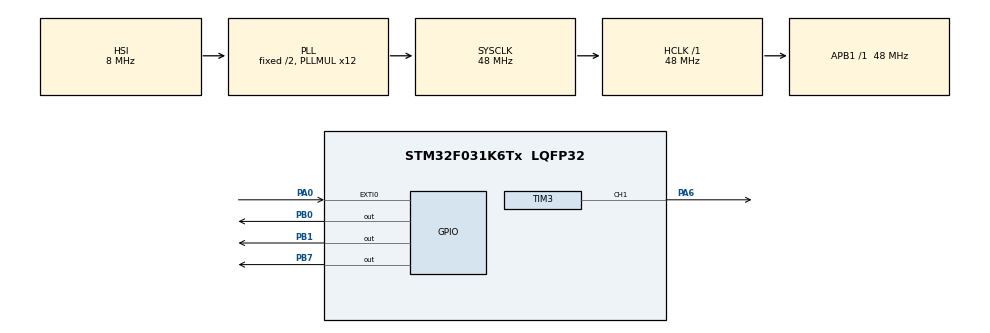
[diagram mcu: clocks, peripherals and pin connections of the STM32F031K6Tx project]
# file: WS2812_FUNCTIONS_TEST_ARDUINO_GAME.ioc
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Dma.Request0=TIM3_CH1/TRIG
Dma.TIM3_CH1/TRIG.0.Direction=DMA_MEMORY_TO_PERIPH
Dma.TIM3_CH1/TRIG.0.Instance=DMA1_Channel4
Dma.TIM3_CH1/TRIG.0.MemDataAlignment=DMA_MDATAALIGN_BYTE
Dma.TIM3_CH1/TRIG.0.MemInc=DMA_MINC_ENABLE
Dma.TIM3_CH1/TRIG.0.Mode=DMA_NORMAL
Dma.TIM3_CH1/TRIG.0.PeriphDataAlignment=DMA_PDATAALIGN_HALFWORD
Dma.TIM3_CH1/TRIG.0.PeriphInc=DMA_PINC_DISABLE
Dma.TIM3_CH1/TRIG.0.Priority=DMA_PRIORITY_LOW
Mcu.Family=STM32F0
Mcu.Name=STM32F031K6Tx
Mcu.Package=LQFP32
NVIC.DMA1_Channel4_5_IRQn=true\:0\:0\:false\:false\:true\:false\:true\:true
NVIC.EXTI0_1_IRQn=true\:0\:0\:false\:false\:true\:true\:true\:true
PA0.GPIO_ModeDefaultEXTI=GPIO_MODE_IT_RISING
PA0.GPIO_PuPd=GPIO_PULLDOWN
PA0.Signal=GPXTI0
PA13.Mode=Serial_Wire
PA13.Signal=SYS_SWDIO
PA14.Mode=Serial_Wire
PA14.Signal=SYS_SWCLK
PA6.Signal=S_TIM3_CH1
PB0.Signal=GPIO_Output
PB1.Signal=GPIO_Output
PB7.Signal=GPIO_Output
PF0-OSC_IN.Mode=HSE-External-Oscillator
PF0-OSC_IN.Signal=RCC_OSC_IN
PF1-OSC_OUT.Mode=HSE-External-Oscillator
PF1-OSC_OUT.Signal=RCC_OSC_OUT
ProjectManager.HeapSize=0x200
ProjectManager.StackSize=0x400
ProjectManager.TargetToolchain=STM32CubeIDE
RCC.AHBFreq_Value=48000000
RCC.APB1Freq_Value=48000000
RCC.APB1TimFreq_Value=48000000
RCC.HCLKFreq_Value=48000000
RCC.PLLMUL=RCC_PLL_MUL12
RCC.SYSCLKFreq_VALUE=48000000
RCC.SYSCLKSource=RCC_SYSCLKSOURCE_PLLCLK
SH.S_TIM3_CH1.0=TIM3_CH1,PWM Generation1 CH1
TIM3.Channel-PWM\ Generation1\ CH1=TIM_CHANNEL_1
TIM3.Period=3-1
TIM3.Prescaler=20-1
VP_TIM3_VS_ClockSourceINT.Mode=Internal
board=custom

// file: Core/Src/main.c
/* USER CODE BEGIN Header */
/**
 ******************************************************************************
 * @file           : main.c
 * @brief          : Main program body
 ******************************************************************************
 * @attention
 *
 * Copyright (c) 2025 STMicroelectronics.
 * All rights reserved.
 *
 * This software is licensed under terms that can be found in the LICENSE file
 * in the root directory of this software component.
 * If no LICENSE file comes with this software, it is provided AS-IS.
 *
 ******************************************************************************
 */
/* USER CODE END Header */
#include "main.h"

/* USER CODE BEGIN Includes */
#include <stdlib.h> // abs() fonksiyonu için
#include <stdbool.h> // bool veri tipi için
#include <stdint.h>  // uint8_t, uint16_t gibi tipler için
/* USER CODE END Includes */

TIM_HandleTypeDef htim3;
DMA_HandleTypeDef hdma_tim3_ch1_trig;

void SystemClock_Config(void);
static void MX_GPIO_Init(void);
static void MX_DMA_Init(void);
static void MX_TIM3_Init(void);

/* USER CODE BEGIN 0 */

#define noOfLEDs 59
uint8_t pwmData[24 * noOfLEDs + 50]; // Bu dizi main.c'de tanımlı olmalı

// -----------------------------------------------------------
// WS2812 TEST FONSKIYONLARI
// -----------------------------------------------------------
void HAL_TIM_PWM_PulseFinishedCallback(TIM_HandleTypeDef *htim) {
	HAL_TIM_PWM_Stop_DMA(&htim3, TIM_CHANNEL_1);
	htim3.Instance->CCR1 = 0;
}

// tum ledleri off yapma fonksiyonu ?????
void resetAllLED(void) {
	for (int i = 0; i < 24 * noOfLEDs; i++)
		pwmData[i] = 1;
}

// tum ledleri beyaz renkte yakiyor sanirim ????
void setAllLED(void) {
	// set icin tum ledlerin datasini 2 yapıyoz ?????
	for (int i = 0; i < 24 * noOfLEDs; i++)
		pwmData[i] = 2;
}

// led'in rengini ayarlamak icin fonksiyon
void setLED(int LEDposition, int Red, int Green, int Blue) {
	for (int i = 7; i >= 0; i--) // Set the first 8 out of 24 to green
			{
		pwmData[24 * LEDposition + 7 - i] = ((Green >> i) & 1) + 1;
	}
	for (int i = 7; i >= 0; i--) // Set the second 8 out of 24 to red
			{
		pwmData[24 * LEDposition + 15 - i] = ((Red >> i) & 1) + 1;
	}
	for (int i = 7; i >= 0; i--) // Set the third 8 out of 24 to blue
			{
		pwmData[24 * LEDposition + 23 - i] = ((Blue >> i) & 1) + 1;
	}
}

// DMA baslatan fonksiyon
void ws2812Send(void) {
	HAL_TIM_PWM_Start_DMA(&htim3, TIM_CHANNEL_1, (uint32_t*) pwmData,
			24 * noOfLEDs + 50);
}
// -----------------------------------------------------------
// WS2812 TEST FONKSIYONLARI SON
// -----------------------------------------------------------

// -----------------------------------------------------------
// GEMINI OYUN KODU
// -----------------------------------------------------------
// Arduino kodundan gelen tanımlar

volatile bool Playing = true;      // volatile olarak işaretlendi
volatile bool CycleEnded = true;   // volatile olarak işaretlendi
uint32_t last_button_interrupt_time = 0; // Debounce için
#define DEBOUNCE_TIME_MS 100         // 50ms debounce süresi (ayarlayabilirsiniz)

#define NUM_LEDS noOfLEDs // Arduino NUM_LEDS yerine noOfLEDs kullanalım
#define CENTER_LED 29
#define BRIGHTNESS 100 // Parlaklık (0-255 ölçeğinde düşünülerek uygulanacak)

// CANLAR İÇİN LEDLER
#define LIFE_LED_1_PORT GPIOB
#define LIFE_LED_1_PIN  GPIO_PIN_0 // 1. can için (ya da hangi sırayla isterseniz)

#define LIFE_LED_2_PORT GPIOB
#define LIFE_LED_2_PIN  GPIO_PIN_1 // 2. can için

#define LIFE_LED_3_PORT GPIOB
#define LIFE_LED_3_PIN  GPIO_PIN_7 // 3. can için (ya da tam tersi)

// Zorluk seviyeleri
#define EASY 1
#define MEDIUM 2
#define HARD 3
#define ON_SPEED 4
#define SONIC_SPEED 5
#define ROCKET_SPEED 6
#define LIGHT_SPEED 7
#define MISSION_IMPOSSIBLE 8

// Global oyun değişkenleri
int difficulty = EASY; // Başlangıç zorluğu EASY
bool wonThisRound = false;
int LEDaddress = 0;

int player_lives = 3; // Oyuncunun can sayısı

#define BUTTON_GPIO_Port GPIOA
#define BUTTON_Pin GPIO_PIN_0
#define BUTTON_PRESSED_STATE GPIO_PIN_SET

uint32_t last_led_advance_time = 0;
// uint32_t button_press_time = 0; // Eğer kullanmıyorsanız bu satırı silebilirsiniz.
bool button_currently_pressed_flag = false;

static uint32_t button_seen_released_at_tick = 0; // Butonun BIRAKILDIĞI ilk görüldüğü zaman
static bool waiting_for_stable_release = false; // Kararlı bir bırakılma bekleniyor mu?
#define STABLE_RELEASE_DURATION_MS 100             // Butonun kararlı şekilde bırakılmış sayılması için gereken süre (ms)

// LED renklerini tutmak için bir yapı ve dizi
typedef struct {
	uint8_t r;
	uint8_t g;
	uint8_t b;
} RGBColor;

RGBColor led_strip[NUM_LEDS]; // LED'lerin renklerini saklayan gölge dizi
uint8_t global_brightness = BRIGHTNESS; // Global parlaklık

// HSV'den RGB'ye renk dönüşüm fonksiyonu
void hsvToRgb(uint8_t h, uint8_t s, uint8_t v, RGBColor *rgb) {
	uint8_t region, remainder, p, q, t;

	if (s == 0) {
		rgb->r = v;
		rgb->g = v;
		rgb->b = v;
		return;
	}

	region = h / 43; // 256 / 6 ~= 42.66, so h is 0-255 for 6 regions
	remainder = (h - (region * 43)) * 6;

	p = (v * (255 - s)) >> 8;
	q = (v * (255 - ((s * remainder) >> 8))) >> 8;
	t = (v * (255 - ((s * (255 - remainder)) >> 8))) >> 8;

	switch (region) {
	case 0:
		rgb->r = v;
		rgb->g = t;
		rgb->b = p;
		break;
	case 1:
		rgb->r = q;
		rgb->g = v;
		rgb->b = p;
		break;
	case 2:
		rgb->r = p;
		rgb->g = v;
		rgb->b = t;
		break;
	case 3:
		rgb->r = p;
		rgb->g = q;
		rgb->b = v;
		break;
	case 4:
		rgb->r = t;
		rgb->g = p;
		rgb->b = v;
		break;
	default:
		rgb->r = v;
		rgb->g = p;
		rgb->b = q;
		break; // case 5
	}
}

// Gölge LED dizisindeki bir LED'in rengini ayarlar
void set_led_color_in_strip(int index, uint8_t r, uint8_t g, uint8_t b) {
	if (index >= 0 && index < NUM_LEDS) {
		led_strip[index].r = r;
		led_strip[index].g = g;
		led_strip[index].b = b;
	}
}

// Tüm gölge LED dizisini belirli bir renkle doldurur
void fill_strip_solid(uint8_t r, uint8_t g, uint8_t b) {
	for (int i = 0; i < NUM_LEDS; i++) {
		set_led_color_in_strip(i, r, g, b);
	}
}

// Gölge LED dizisindeki renkleri parlaklık ayarıyla fiziksel LED'lere gönderir
void update_led_strip_to_physical_leds(void) {
	for (int i = 0; i < NUM_LEDS; i++) {
		uint8_t r_adj = ((uint16_t) led_strip[i].r * global_brightness) / 255;
		uint8_t g_adj = ((uint16_t) led_strip[i].g * global_brightness) / 255;
		uint8_t b_adj = ((uint16_t) led_strip[i].b * global_brightness) / 255;

		// Kullanıcının setLED fonksiyonu (Pozisyon, Kırmızı, Yeşil, Mavi) parametrelerini alır.
		// WS2811 için renk sırası genellikle GRB'dir, bu yüzden setLED fonksiyonunun
		// bu sırayı doğru şekilde pwmData'ya yazdığını varsayıyoruz.
		// Arduino kodunda COLOR_ORDER RGB idi. FastLED bunu hallediyordu.
		// Sizin setLED fonksiyonunuzdaki döngüler: Yeşil, sonra Kırmızı, sonra Mavi bitlerini yazıyor.
		// Bu, setLED(pos, R, G, B) çağrıldığında, G'nin ilk, R'nin ikinci, B'nin üçüncü renk olarak
		// LED'e gönderileceği anlamına gelir. Bu WS2811 için standart bir GRB sıralamasıdır.
		// Eğer FastLED RGB sırasında gönderiyorsa ve WS2811'iniz RGB ise, setLED'e R,G,B vermek doğrudur.
		// Eğer WS2811'iniz GRB ise ve FastLED RGB gönderiyorsa, FastLED kendi içinde çeviriyordu.
		// Sizin setLED fonksiyonunuzun argümanları (Red, Green, Blue) ise ve WS2811'iniz GRB ise,
		// setLED(pos, Kirmizi, Yesil, Mavi) -> pwmData'ya Yesil, Kirmizi, Mavi bitlerini yazar.
		// Bu durumda bizim RGBColor {r,g,b} yapımızdaki değerleri doğrudan kullanabiliriz.
		setLED(i, r_adj, g_adj, b_adj);
	}
	ws2812Send();
}

// Oyun başlangıç ayarları
void game_setup(void) {
	// STM32 HAL başlatmaları (GPIO, TIM, DMA) main() içinde yapılmış olmalı.
	// Oyun mantığı için başlangıç ayarları:
	fill_strip_solid(0, 0, 0); // Tüm LED'leri siyah yap
	update_led_strip_to_physical_leds(); // Siyah rengi LED'lere gönder
	// Gerekirse STM32 UART başlatma kodları eklenebilir (Serial.begin eşdeğeri)
}

// Ana oyun döngüsü
void game_loop(void) {
	if (!Playing) { // Oyun durmuşsa (ISR tarafından Playing=false yapıldı)
		if (CycleEnded) { // ISR, CycleEnded=true yaptı, yani sonucu değerlendirmemiz gerekiyor
			// Hedef LED ve seçilen LED dışındaki tüm LED'leri kapat
			for (int i = 0; i < NUM_LEDS; i++) {
				set_led_color_in_strip(i, 0, 0, 0); // Siyah
			}
			set_led_color_in_strip(CENTER_LED, 255, 0, 0); // Merkez LED Kırmızı
			set_led_color_in_strip(LEDaddress, 0, 255, 0); // Durdurulan LED Yeşil
			update_led_strip_to_physical_leds();

			int diff = abs(CENTER_LED - LEDaddress);
			if (diff == 0) { // KAZANDI
				wonThisRound = true;
				if (difficulty == MISSION_IMPOSSIBLE) {
					// Mission Impossible kazanıldı!
					play_won_animation(); // Yeni yeşil yanıp sönme animasyonu
					// Ardından normal Cylon animasyonu (örneğin 2 kez)
					for (int i = 0; i < 2; i++) {
						play_cylon_animation();
					}
					difficulty = EASY; // Oyun başa döner (EASY seviyesine)
					player_lives = 3;
					update_life_leds();
				} else {
					// Diğer seviyeler kazanıldı
					for (int i = 0; i < 2; i++) { // Normal Cylon animasyonu
						play_cylon_animation();
					}
				}
				increase_game_difficulty(); // Zorluk artırılır (veya MI sonrası sıfırlanır)
				wonThisRound = false;
			} else { // KAYBETTİ
				player_lives--;
				update_life_leds();
				if (player_lives > 0) {
					HAL_Delay(1000);
					// Normal kaybetme animasyonu (kısa flash)
					for (int i = 0; i < 2; i++) {
						play_flash_animation();
					}
					// Mevcut seviyeden devam eder, zorluk değişmez.
					// `difficulty` değişkenine dokunmuyoruz.
				} else {
					// canı kalmadi restart_game
					HAL_Delay(1000);
					// game over animasyonu daha uzun flash
					for (int i = 0; i < 4; i++) {
						play_flash_animation();
					}
					// Game over sonrası ayarlar
					player_lives = 3;    // Canları yenile
					update_life_leds();
					difficulty = EASY;   // En baştaki bölüme (EASY) dön
				}

			}
			CycleEnded = false; // Bu kazanma/kaybetme durumu işlendi
			waiting_for_stable_release = false; // Yeniden başlatma için kararlı bırakma bayrağını sıfırla
		}

		// CycleEnded false ise (animasyonlar bitti), butonun bırakılmasını bekle ve oyunu yeniden başlat
		GPIO_PinState current_button_state = HAL_GPIO_ReadPin(BUTTON_GPIO_Port,
		BUTTON_Pin);

		if (current_button_state == GPIO_PIN_RESET) { // Buton şu an BIRAKILMIŞ (LOW) görünüyor
			if (!waiting_for_stable_release) {
				// Butonu BIRAKILMIŞ olarak ilk kez görüyoruz (veya bir sıçrama sonrası tekrar BIRAKILMIŞ oldu)
				waiting_for_stable_release = true;
				button_seen_released_at_tick = HAL_GetTick(); // Zamanı kaydet
			} else {
				// Zaten BIRAKILMIŞ olarak görmüştük, şimdi yeterince uzun süre öyle kalıp kalmadığını kontrol et
				if (HAL_GetTick()
						- button_seen_released_at_tick> STABLE_RELEASE_DURATION_MS) {
					// Evet, buton STABLE_RELEASE_DURATION_MS süresince bırakılmış durumda kaldı. Oyunu yeniden başlat.
					Playing = true;       // Oyunu yeniden başlat
					LEDaddress = 0;       // LED adresini sıfırla
					HAL_Delay(10);        // Kısa bir bekleme

					fill_strip_solid(0, 0, 0);
					set_led_color_in_strip(CENTER_LED, 255, 0, 0); // Merkezi kırmızı yap
					// set_led_color_in_strip(0, 0, 255, 0); // İlk LED'i yeşil yapmaya gerek yok, Playing=true döngüsü halledecek
					update_led_strip_to_physical_leds();
					HAL_Delay(10);

					waiting_for_stable_release = false; // Bir sonraki döngü için bayrağı sıfırla
				}
			}
		} else { // Buton şu an BASILI (HIGH) görünüyor (ya hala basılı tutuluyor ya da sıçradı)
			// Eğer kararlı bir bırakılma bekliyorduk ama buton tekrar HIGH olduysa, bekleme durumunu sıfırla.
			if (waiting_for_stable_release) {
				waiting_for_stable_release = false;
			}
		}
	} // if (!Playing) sonu

	if (Playing) { // Oyun oynanış mantığı (bu kısım değişmiyor)
		for (int i = 0; i < NUM_LEDS; i++) {
			set_led_color_in_strip(i, 0, 0, 0);
		}
		set_led_color_in_strip(CENTER_LED, 255, 0, 0);
		set_led_color_in_strip(LEDaddress, 0, 255, 0);
		update_led_strip_to_physical_leds();

		LEDaddress++;
		if (LEDaddress == NUM_LEDS) {
			LEDaddress = 0;
		}
		HAL_Delay(getTime(difficulty));
	}
} // game_loop sonu
// Zorluğa göre LED hareket gecikmesini döndürür
int getTime(int diff_level) {
	int timeValue = 0;
	switch (diff_level) {
	case EASY:
		timeValue = 200;
		break;
	case MEDIUM:
		timeValue = 150;
		break;
	case HARD:
		timeValue = 100;
		break;
	case ON_SPEED:
		timeValue = 80;
		break;
	case SONIC_SPEED:
		timeValue = 60;
		break;
	case ROCKET_SPEED:
		timeValue = 50;
		break;
	case LIGHT_SPEED:
		timeValue = 30;
		break;
	case MISSION_IMPOSSIBLE:
		timeValue = 20;
		break;
	default:
		timeValue = 100; // Hata durumunda varsayılan
	}
	return timeValue;
}

// Kazanma durumunda zorluğu artırır
void increase_game_difficulty() {
	// Orijinal Arduino kodu: void increaseDifficulty() { if (difficulty != MISSION_IMPOSSIBLE && wonThisRound) { difficulty++; } }
	// Ve MISSION_IMPOSSIBLE kazanıldığında ana döngüde difficulty = 0; yapılıp sonra bu fonksiyon çağrılıyordu.
	// Bu mantık korunuyor:
	if (wonThisRound) { // Sadece kazanıldıysa zorluk değişir
		if (difficulty == 0) { // Bu, MISSION_IMPOSSIBLE'dan sonraki sıfırlamadır
			difficulty = 1; // EASY'ye geç
		} else if (difficulty < MISSION_IMPOSSIBLE) {
			difficulty++;
		}
		// Eğer difficulty zaten MISSION_IMPOSSIBLE ise ve kazanıldıysa,
		// game_loop içinde difficulty = 0 olarak ayarlandı. wonThisRound true olduğu için
		// bir sonraki adımda difficulty = 1 olacak.
	}
}

// Kaybetme durumunda LED animasyonu (iki kez kırmızı flaş)
void play_flash_animation() {
	uint16_t flash_duration = 300; // Kırmızı ışığın yanık kalma süresi (ms)
	uint16_t off_duration = 300;   // LED'lerin sönük kalma süresi (ms)

	// Birinci flaş
	fill_strip_solid(255, 0, 0); // Tüm LED'ler Kırmızı
	update_led_strip_to_physical_leds();
	HAL_Delay(flash_duration);

	fill_strip_solid(0, 0, 0);   // Tüm LED'ler Siyah (Sönük)
	update_led_strip_to_physical_leds();
	HAL_Delay(off_duration);

//    // İkinci flaş
//    fill_strip_solid(255, 0, 0); // Tüm LED'ler Kırmızı
//    update_led_strip_to_physical_leds();
//    HAL_Delay(flash_duration);

	fill_strip_solid(0, 0, 0);   // Tüm LED'ler Siyah (Sönük)
	update_led_strip_to_physical_leds();
	// Animasyon bittikten sonra LED'lerin sönük kalması için çok kısa bir bekleme,
	// bir sonraki LED güncellemesine kadar durumun korunmasına yardımcı olabilir.
	HAL_Delay(50);
}

// Tüm LED'lerin parlaklığını azaltır (FastLED'deki fadeall gibi)
void apply_fade_to_all_leds() {
	// Daha nazik bir soluklaştırma deneyin, kuyruk biraz daha uzun kalır.
	uint8_t fade_amount = 245; // 220 yerine 240, 245 gibi değerler deneyin
	for (int i = 0; i < NUM_LEDS; i++) {
		led_strip[i].r = (uint32_t) led_strip[i].r * fade_amount / 256;
		led_strip[i].g = (uint32_t) led_strip[i].g * fade_amount / 256;
		led_strip[i].b = (uint32_t) led_strip[i].b * fade_amount / 256;
	}
}

// Helper function to generate a color from a 0-255 position on a color wheel
// Pozisyon 0-255 arası bir değer alır ve bir gökkuşağı rengi döndürür.
void rgb_color_wheel(uint8_t wheel_pos, RGBColor *color) {
	wheel_pos = 255 - wheel_pos; // Renk döngüsünün yönünü değiştirebilirsiniz (isteğe bağlı)
	if (wheel_pos < 85) {
		color->r = 255 - wheel_pos * 3;
		color->g = 0;
		color->b = wheel_pos * 3;
	} else if (wheel_pos < 170) {
		wheel_pos -= 85;
		color->r = 0;
		color->g = wheel_pos * 3;
		color->b = 255 - wheel_pos * 3;
	} else {
		wheel_pos -= 170;
		color->r = wheel_pos * 3;
		color->g = 255 - wheel_pos * 3;
		color->b = 0;
	}
	// Not: Bu fonksiyonun ürettiği renkler tam parlaklıktadır (bir bileşen 255'e ulaşır).
	// Global parlaklık (global_brightness) daha sonra update_led_strip_to_physical_leds içinde uygulanacaktır.
	// Eğer bu animasyonun kendi parlaklığını ayrıca kısmak isterseniz,
	// burada üretilen r,g,b değerlerini bir miktar ölçekleyebilirsiniz.
	// Örn: color->r = color->r * anim_brightness_scale / 255; (anim_brightness_scale < 255)
}
// Kazanma durumunda Cylon LED animasyonu
// Kazanma durumunda Cylon LED animasyonu (RGB Renk Tekerleği ile)
void play_cylon_animation() {
	static uint8_t wheel_position = 0; // Renk tekerleğindeki mevcut pozisyon, çağrılar arasında devam eder.

	// Animasyon adımları arasındaki gecikme (ms).
	// Arduino'daki delay(10)'a karşılık gelir. Gerekirse artırılabilir.
	uint16_t step_delay = 10;

	// İleri yönde
	for (int i = 0; i < NUM_LEDS; i++) {
		RGBColor current_color;
		// Her LED için renk tekerleğinden bir sonraki rengi al
		// wheel_position uint8_t olduğu için 255'ten sonra otomatik olarak 0'a döner.
		rgb_color_wheel(wheel_position++, &current_color);

		set_led_color_in_strip(i, current_color.r, current_color.g,
				current_color.b);
		update_led_strip_to_physical_leds();
		// BUNU YAPINCA LEDLERIN RENKLERI BOZULUYO
//        apply_fade_to_all_leds(); // Kuyruk efekti için (fade_amount'ı deneyerek ayarlayın)
		HAL_Delay(step_delay);
	}

	// Geri yönde
	for (int i = (NUM_LEDS) - 1; i >= 0; i--) {
		RGBColor current_color;
		rgb_color_wheel(wheel_position++, &current_color);

		set_led_color_in_strip(i, current_color.r, current_color.g,
				current_color.b);
		update_led_strip_to_physical_leds();
//        apply_fade_to_all_leds();
		HAL_Delay(step_delay);
	}
}

void play_won_animation() {

	fill_strip_solid(0, 0, 0);   // Tüm LED'ler Siyah (Sönük)
	update_led_strip_to_physical_leds();
	HAL_Delay(50);

	uint16_t blink_delay = 600; // Yanıp sönme hızı (ms)
	uint8_t green_r = 0;
	uint8_t green_g = 255;
	uint8_t green_b = 0;

	for (int i = 0; i < 2; i++) { // 3 kere yanıp sönsün
		// Tüm LED'leri Yeşil yap
		fill_strip_solid(green_r, green_g, green_b);
		update_led_strip_to_physical_leds();
		HAL_Delay(blink_delay);

		// Tüm LED'leri Söndür
		fill_strip_solid(0, 0, 0);
		update_led_strip_to_physical_leds();
		HAL_Delay(blink_delay);
	}
	HAL_Delay(50);
}

void update_life_leds(void) {
	if (player_lives >= 1) {
		HAL_GPIO_WritePin(LIFE_LED_3_PORT, LIFE_LED_3_PIN, GPIO_PIN_SET); // 1. can LED'i (örn: PB7) yanık
	} else {
		HAL_GPIO_WritePin(LIFE_LED_3_PORT, LIFE_LED_3_PIN, GPIO_PIN_RESET); // Sönük
	}

	if (player_lives >= 2) {
		HAL_GPIO_WritePin(LIFE_LED_2_PORT, LIFE_LED_2_PIN, GPIO_PIN_SET); // 2. can LED'i (örn: PB6) yanık
	} else {
		HAL_GPIO_WritePin(LIFE_LED_2_PORT, LIFE_LED_2_PIN, GPIO_PIN_RESET); // Sönük
	}

	if (player_lives >= 3) {
		HAL_GPIO_WritePin(LIFE_LED_1_PORT, LIFE_LED_1_PIN, GPIO_PIN_SET); // 3. can LED'i (örn: PB1) yanık
	} else {
		HAL_GPIO_WritePin(LIFE_LED_1_PORT, LIFE_LED_1_PIN, GPIO_PIN_RESET); // Sönük
	}
}

// -----------------------------------------------------------
// GEMINI OYUN KODU SONU
// -----------------------------------------------------------

/* USER CODE END 0 */

int main(void)
{

  /* USER CODE BEGIN 1 */
	LEDaddress = 0; // Oyun başlamadan hemen önce kesin olarak 0'a ayarla

  /* USER CODE END 1 */

  /* MCU Configuration--------------------------------------------------------*/

  /* Reset of all peripherals, Initializes the Flash interface and the Systick. */
  HAL_Init();

  /* Configure the system clock */
  SystemClock_Config();

  /* Initialize all configured peripherals */
  MX_GPIO_Init();
  MX_DMA_Init();
  MX_TIM3_Init();
  /* USER CODE BEGIN 2 */

	game_setup();
	update_life_leds();
	HAL_Delay(10); // WS2812B reset/hazırlık süresi için
  /* USER CODE END 2 */

  /* Infinite loop */
  /* USER CODE BEGIN WHILE */
	while (1) {
		game_loop();
    /* USER CODE END WHILE */

	}
}

void SystemClock_Config(void)
{
  RCC_OscInitTypeDef RCC_OscInitStruct = {0};
  RCC_ClkInitTypeDef RCC_ClkInitStruct = {0};

  /** Initializes the RCC Oscillators according to the specified parameters
  * in the RCC_OscInitTypeDef structure.
  */
  RCC_OscInitStruct.OscillatorType = RCC_OSCILLATORTYPE_HSI;
  RCC_OscInitStruct.HSIState = RCC_HSI_ON;
  RCC_OscInitStruct.HSICalibrationValue = RCC_HSICALIBRATION_DEFAULT;
  RCC_OscInitStruct.PLL.PLLState = RCC_PLL_ON;
  RCC_OscInitStruct.PLL.PLLSource = RCC_PLLSOURCE_HSI;
  RCC_OscInitStruct.PLL.PLLMUL = RCC_PLL_MUL12;
  RCC_OscInitStruct.PLL.PREDIV = RCC_PREDIV_DIV1;
  if (HAL_RCC_OscConfig(&RCC_OscInitStruct) != HAL_OK)
  {
    Error_Handler();
  }

  /** Initializes the CPU, AHB and APB buses clocks
  */
  RCC_ClkInitStruct.ClockType = RCC_CLOCKTYPE_HCLK|RCC_CLOCKTYPE_SYSCLK
                              |RCC_CLOCKTYPE_PCLK1;
  RCC_ClkInitStruct.SYSCLKSource = RCC_SYSCLKSOURCE_PLLCLK;
  RCC_ClkInitStruct.AHBCLKDivider = RCC_SYSCLK_DIV1;
  RCC_ClkInitStruct.APB1CLKDivider = RCC_HCLK_DIV1;

  if (HAL_RCC_ClockConfig(&RCC_ClkInitStruct, FLASH_LATENCY_1) != HAL_OK)
  {
    Error_Handler();
  }
}

static void MX_TIM3_Init(void)
{

  TIM_ClockConfigTypeDef sClockSourceConfig = {0};
  TIM_MasterConfigTypeDef sMasterConfig = {0};
  TIM_OC_InitTypeDef sConfigOC = {0};

  htim3.Instance = TIM3;
  htim3.Init.Prescaler = 20-1;
  htim3.Init.CounterMode = TIM_COUNTERMODE_UP;
  htim3.Init.Period = 3-1;
  htim3.Init.ClockDivision = TIM_CLOCKDIVISION_DIV1;
  htim3.Init.AutoReloadPreload = TIM_AUTORELOAD_PRELOAD_DISABLE;
  if (HAL_TIM_Base_Init(&htim3) != HAL_OK)
  {
    Error_Handler();
  }
  sClockSourceConfig.ClockSource = TIM_CLOCKSOURCE_INTERNAL;
  if (HAL_TIM_ConfigClockSource(&htim3, &sClockSourceConfig) != HAL_OK)
  {
    Error_Handler();
  }
  if (HAL_TIM_PWM_Init(&htim3) != HAL_OK)
  {
    Error_Handler();
  }
  sMasterConfig.MasterOutputTrigger = TIM_TRGO_RESET;
  sMasterConfig.MasterSlaveMode = TIM_MASTERSLAVEMODE_DISABLE;
  if (HAL_TIMEx_MasterConfigSynchronization(&htim3, &sMasterConfig) != HAL_OK)
  {
    Error_Handler();
  }
  sConfigOC.OCMode = TIM_OCMODE_PWM1;
  sConfigOC.Pulse = 0;
  sConfigOC.OCPolarity = TIM_OCPOLARITY_HIGH;
  sConfigOC.OCFastMode = TIM_OCFAST_DISABLE;
  if (HAL_TIM_PWM_ConfigChannel(&htim3, &sConfigOC, TIM_CHANNEL_1) != HAL_OK)
  {
    Error_Handler();
  }
  HAL_TIM_MspPostInit(&htim3);

}

static void MX_DMA_Init(void)
{

  /* DMA controller clock enable */
  __HAL_RCC_DMA1_CLK_ENABLE();

  /* DMA interrupt init */
  /* DMA1_Channel4_5_IRQn interrupt configuration */
  HAL_NVIC_SetPriority(DMA1_Channel4_5_IRQn, 0, 0);
  HAL_NVIC_EnableIRQ(DMA1_Channel4_5_IRQn);

}

static void MX_GPIO_Init(void)
{
  GPIO_InitTypeDef GPIO_InitStruct = {0};

  /* GPIO Ports Clock Enable */
  __HAL_RCC_GPIOF_CLK_ENABLE();
  __HAL_RCC_GPIOA_CLK_ENABLE();
  __HAL_RCC_GPIOB_CLK_ENABLE();

  /*Configure GPIO pin Output Level */
  HAL_GPIO_WritePin(GPIOB, GPIO_PIN_0|GPIO_PIN_1|GPIO_PIN_7, GPIO_PIN_RESET);

  /*Configure GPIO pin : PA0 */
  GPIO_InitStruct.Pin = GPIO_PIN_0;
  GPIO_InitStruct.Mode = GPIO_MODE_IT_RISING;
  GPIO_InitStruct.Pull = GPIO_PULLDOWN;
  HAL_GPIO_Init(GPIOA, &GPIO_InitStruct);

  /*Configure GPIO pins : PB0 PB1 PB7 */
  GPIO_InitStruct.Pin = GPIO_PIN_0|GPIO_PIN_1|GPIO_PIN_7;
  GPIO_InitStruct.Mode = GPIO_MODE_OUTPUT_PP;
  GPIO_InitStruct.Pull = GPIO_NOPULL;
  GPIO_InitStruct.Speed = GPIO_SPEED_FREQ_LOW;
  HAL_GPIO_Init(GPIOB, &GPIO_InitStruct);

  /* EXTI interrupt init*/
  HAL_NVIC_SetPriority(EXTI0_1_IRQn, 0, 0);
  HAL_NVIC_EnableIRQ(EXTI0_1_IRQn);

}

/* USER CODE BEGIN 4 */
void HAL_GPIO_EXTI_Callback(uint16_t GPIO_Pin) {
	if (GPIO_Pin == BUTTON_Pin) // Bizim butonumuz mu?
	{
		uint32_t current_time = HAL_GetTick();
		if (current_time - last_button_interrupt_time > DEBOUNCE_TIME_MS) // DEBOUNCE_TIME_MS (örn: 100ms)
		{
			last_button_interrupt_time = current_time;

			if (Playing) // Eğer oyun zaten oynanıyorsa (LED'ler hareket ediyorsa)
			{
				Playing = false;    // Oyunu durdur
				CycleEnded = true;  // Sonucun işlenmesi için bayrağı ayarla
			}
		}
	}
}
/* USER CODE END 4 */

void Error_Handler(void)
{
	__disable_irq();
	while (1) {
	}
}
